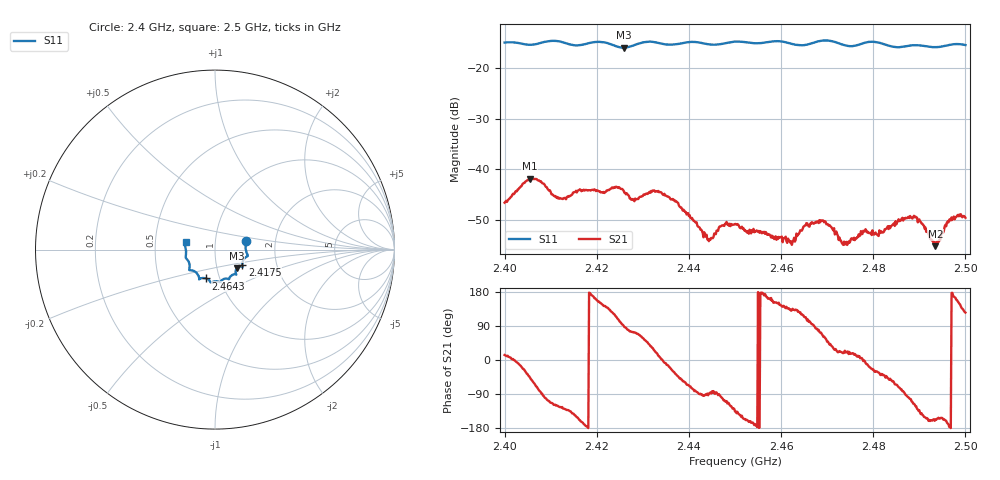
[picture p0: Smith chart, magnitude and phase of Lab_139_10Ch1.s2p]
# Hz S RI R 50
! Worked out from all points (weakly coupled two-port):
!   601 points, 2.4 GHz to 2.5 GHz, reference 50 ohm
!   highest |S21| = -41.86 dB at 2.4055 GHz (marker M1); lowest = -55.2 dB at 2.4935 GHz (marker M2)
!   lowest |S11| = -15.9 dB at 2.4258 GHz (marker M3), VSWR 1.38, Z = 62.3 - j13.2 ohm
!   |S11| at or under -10 dB: start of sweep to end of sweep
!   S12 and S22 are empty: the file has one direction only
!   S11 on the Smith chart (normalised r, x): 2.4 GHz: 1.41, +0.14; 2.4175 GHz: 1.34, -0.23; 2.4643 GHz: 0.86, -0.29; 2.5 GHz: 0.72, +0.06
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2.4e9  0.1727 0.0489  0.00455 0.00107  0 0  0 0
2.4055e9  0.1703 0.00819  0.00559 -0.00583  0 0  0 0
2.412e9  0.1801 -0.0375  -0.00293 -0.00429  0 0  0 0
2.416667e9  0.153 -0.0742  -0.0058 -0.00179  0 0  0 0
2.4175e9  0.1517 -0.0836  -0.00619 -0.000787  0 0  0 0
2.425833e9  0.1218 -0.1032  -3.81e-05 0.00613  0 0  0 0
2.428e9  0.1146 -0.1231  0.00148 0.00471  0 0  0 0
2.433333e9  0.1132 -0.1373  0.00599 0.00121  0 0  0 0
2.437167e9  0.0864 -0.1494  0.00385 -0.00295  0 0  0 0
2.4445e9  0.0599 -0.1611  0.000112 -0.00204  0 0  0 0
2.447e9  0.0404 -0.1688  -0.000371 -0.00272  0 0  0 0
2.45e9  0.0289 -0.1809  -0.00206 -0.00201  0 0  0 0
2.462167e9  -0.031 -0.1722  -0.00125 0.00149  0 0  0 0
2.464333e9  -0.0498 -0.161  -0.00127 0.00213  0 0  0 0
2.466667e9  -0.0758 -0.1593  -0.000229 0.00299  0 0  0 0
2.469167e9  -0.0881 -0.1661  0.00149 0.00274  0 0  0 0
2.473833e9  -0.0963 -0.1384  0.00164 0.000749  0 0  0 0
2.483333e9  -0.141 -0.09  0.00164 -0.00197  0 0  0 0
2.489e9  -0.1628 -0.045  -0.00156 -0.00296  0 0  0 0
2.4935e9  -0.1612 -0.00817  -0.0016 -0.00068  0 0  0 0
2.4965e9  -0.1682 0.0237  -0.00317 -0.000187  0 0  0 0
2.5e9  -0.164 0.043  -0.00191 0.00271  0 0  0 0
